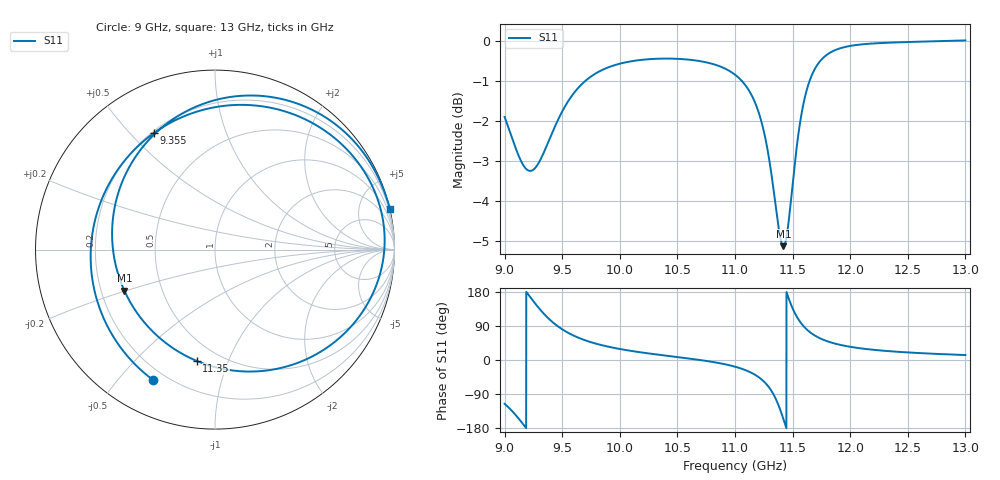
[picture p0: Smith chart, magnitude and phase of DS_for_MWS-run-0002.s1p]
! TOUCHSTONE file generated by CST DESIGN STUDIO
! Date and time: Tue Feb  4 17:51:46 2025
! Project name: C:\Work\MatlabApps\UnitCellOptimizationMatlab\CST\unitcell.cst
! Tree item: Tasks\Sweep1\SPara1\S-Parameters
! Header version: 2024
! Port assignment regex: !\s*Touchstone port\s*([0-9]+)\s*=\s*(CST MWS port|CST DES external port|CST DES block port)\s*(.+)\s* \(\"(.*)\"\)(\s*mode\s*([0-9]+))?.*
! Touchstone port assignment:
! Touchstone port 1 = CST DES external port 1 ("")
# GHz S MA R 50
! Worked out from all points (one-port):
!   4001 points, 9 GHz to 13 GHz, reference 50 ohm
!   lowest |S11| = -5.1 dB at 11.42 GHz (marker M1), VSWR 3.49, Z = 14.9 - j9.86 ohm
!   |S11| at or under -10 dB: nowhere
!   S11 on the Smith chart (normalised r, x): 9 GHz: 0.15, -0.62; 9.355 GHz: 0.21, +0.59; 11.35 GHz: 0.38, -0.78; 13 GHz: -0.04, +8.73
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9  0.8036 -115.6
9.079  0.7461 -139.3
9.182  0.6933 -177.8
9.259  0.6924 151.4
9.355  0.7336 117.4
9.423  0.7736 98.2
9.5  0.8163 81.0
9.604  0.8616 63.7
9.716  0.895 50.3
10  0.9364 29.0
10.5  0.9496 7.7
11  0.9073 -17.6
11.116  0.8694 -29.9
11.204  0.8153 -44.9
11.291  0.7196 -70.4
11.349  0.6285 -99.4
11.384  0.5775 -124.2
11.42  0.5544 -155.7
11.459  0.5845 168.6
11.5  0.6622 136.4
11.542  0.7494 111.5
11.586  0.8232 92.5
11.648  0.8916 74.0
11.713  0.9325 61.1
11.834  0.9681 46.2
12  0.9854 34.9
12.5  0.9965 20.0
13  1.001 13.1
